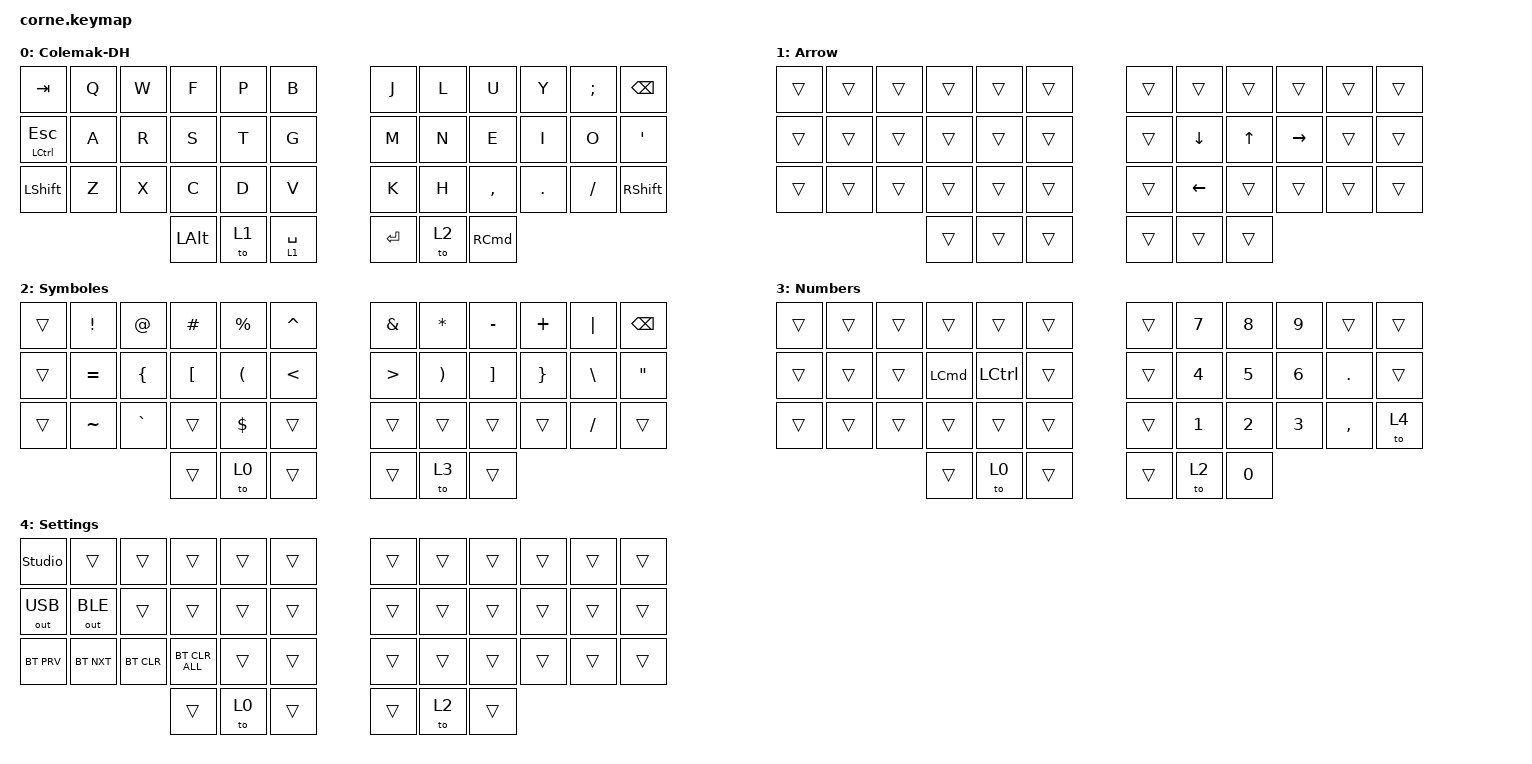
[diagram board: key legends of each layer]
/*
 * Copyright (c) 2020 The ZMK Contributors
 *
 * SPDX-License-Identifier: MIT
 */

#include <behaviors.dtsi>
#include <dt-bindings/zmk/keys.h>
#include <dt-bindings/zmk/outputs.h>
#include <dt-bindings/zmk/behaviors.h>
#include <dt-bindings/zmk/bt.h>

#define ___ &trans
#define CTRL_ESC &ht_tp LEFT_CONTROL ESC
#define SPACE_1 &mod_tp 1 SPACE

/ {


    behaviors {
        ht_tp: hold_tap_tap_preferred {
            compatible = "zmk,behavior-hold-tap";
            #binding-cells = <2>;
            tapping-term-ms = <500>; // Default ZMK value
            flavor = "tap-preferred";
            bindings = <&kp>, <&kp>;
            display-name = "CTRL-ESC";
        };

        mod_tp: mod_tap_tap_preferred {
            compatible = "zmk,behavior-hold-tap";
            #binding-cells = <2>;
            tapping-term-ms = <500>;
            flavor = "tap-preferred";
            bindings = <&mo>, <&kp>;
            display-name = "Space-NAV";
        };
    };
        keymap {
                compatible = "zmk,keymap";

                default_layer {
                        display-name = "Colemak-DH";
                        bindings = <
     // ╭─────────────┬─────────────┬─────────────┬─────────────┬─────────────┬─────────────╮   ╭─────────────┬─────────────┬─────────────┬─────────────┬─────────────┼─────────────╮
        &kp TAB       &kp Q         &kp W         &kp F         &kp P         &kp B             &kp J         &kp L         &kp U         &kp Y         &kp SEMI      &kp BSPC
     // ├─────────────┼─────────────┼─────────────┼─────────────┼─────────────┼─────────────┤   ├─────────────┼─────────────┼─────────────┼─────────────┼─────────────┼─────────────┤
        CTRL_ESC      &kp A         &kp R         &kp S         &kp T         &kp G             &kp M         &kp N         &kp E         &kp I         &kp O         &kp SQT
     // ├─────────────┼─────────────┼─────────────┼─────────────┼─────────────┼─────────────┤   ├─────────────┼─────────────┼─────────────┼─────────────┼─────────────┼─────────────┤
        &kp LSHIFT    &kp Z         &kp X         &kp C         &kp D         &kp V             &kp K         &kp H         &kp COMMA     &kp DOT       &kp FSLH      &kp RSHIFT
     // ╰─────────────┼─────────────┼─────────────┼─────────────┼─────────────┼─────────────┤   ├─────────────┼─────────────┼─────────────┼─────────────┼─────────────┼─────────────┤
                                                  &kp LEFT_ALT  &to 1         SPACE_1           &kp RET       &to 2         &kp RIGHT_COMMAND
     //                                           ╰─────────────┴─────────────┴─────────────╯   ╰─────────────┴─────────────┴─────────────╯
                        >;
                };
                nav_layer {
                        display-name = "Arrow";
                        bindings = <
     // ╭─────────────┬─────────────┬─────────────┬─────────────┬─────────────┬─────────────╮   ╭─────────────┬─────────────┬─────────────┬─────────────┬─────────────┼─────────────╮
        ___           ___           ___           ___           ___           ___               ___           ___           ___           ___           ___           ___   
     // ├─────────────┼─────────────┼─────────────┼─────────────┼─────────────┼─────────────┤   ├─────────────┼─────────────┼─────────────┼─────────────┼─────────────┼─────────────┤
        ___           ___           ___           ___           ___           ___               ___           &kp DOWN      &kp UP        &kp RIGHT     ___           ___   
     // ├─────────────┼─────────────┼─────────────┼─────────────┼─────────────┼─────────────┤   ├─────────────┼─────────────┼─────────────┼─────────────┼─────────────┼─────────────┤
        ___           ___           ___           ___           ___           ___               ___           &kp LEFT      ___           ___           ___           ___   
     // ╰─────────────┼─────────────┼─────────────┼─────────────┼─────────────┼─────────────┤   ├─────────────┼─────────────┼─────────────┼─────────────┼─────────────┼─────────────┤
                                                  ___           ___           ___               ___           ___           ___           
     //   
                        >;
                };
                
                symbol_layer {
                        display-name = "Symboles";
                        bindings = <
     // ╭─────────────┬─────────────┬──────────────┬─────────────────┬────────────────────┬─────────────╮   ╭────────────────┬─────────────────────┬─────────────────┬───────────────┬─────────────┼─────────────╮
        ___           &kp EXCL      &kp AT         &kp HASH          &kp PERCENT          &kp CARET         &kp AMPERSAND    &kp STAR              &kp MINUS         &kp PLUS        &kp PIPE      &kp BSPC
     // ├─────────────┼─────────────┼──────────────┼─────────────────┼────────────────────┼─────────────┤   ├────────────────┼─────────────────────┼─────────────────┼───────────────┼─────────────┼─────────────┤
        ___           &kp EQUAL     &kp LEFT_BRACE &kp LEFT_BRACKET  &kp LEFT_PARENTHESIS &kp LESS_THAN     &kp GREATER_THAN &kp RIGHT_PARENTHESIS &kp RIGHT_BRACKET &kp RIGHT_BRACE &kp BACKSLASH &kp DOUBLE_QUOTES
     // ├─────────────┼─────────────┼──────────────┼─────────────────┼────────────────────┼─────────────┤   ├────────────────┼─────────────────────┼─────────────────┼───────────────┼─────────────┼─────────────┤
        ___           &kp TILDE     &kp GRAVE      ___               &kp DOLLAR           ___               ___              ___                   ___               ___             &kp SLASH     ___ 
     // ╰─────────────┼─────────────┼──────────────┼─────────────────┼────────────────────┼─────────────┤   ├────────────────┼─────────────────────┼─────────────────┼───────────────┼─────────────┼─────────────┤
                                                   ___               &to 0                ___               ___              &to 3                 ___
     //                                            ╰─────────────────┴────────────────────┴─────────────╯   ╰────────────────┴─────────────────────┴─────────────────╯
                        >;
                };


                number_layer {
                        display-name = "Numbers";
                        bindings = <
     // ╭─────────────┬─────────────┬─────────────┬────────────────┬─────────────┬─────────────╮   ╭─────────────┬─────────────┬─────────────┬─────────────┬─────────────┼─────────────╮
        ___           ___           ___           ___              ___           ___               ___           &kp NUMBER_7  &kp NUMBER_8  &kp NUMBER_9  ___           ___   
     // ├─────────────┼─────────────┼─────────────┼────────────────┼─────────────┼─────────────┤   ├─────────────┼─────────────┼─────────────┼─────────────┼─────────────┼─────────────┤
        ___           ___           ___           &kp LEFT_COMMAND &kp LCTRL     ___               ___           &kp NUMBER_4  &kp NUMBER_5  &kp NUMBER_6  &kp DOT       ___   
     // ├─────────────┼─────────────┼─────────────┼────────────────┼─────────────┼─────────────┤   ├─────────────┼─────────────┼─────────────┼─────────────┼─────────────┼─────────────┤
        ___           ___           ___           ___              ___           ___               ___           &kp NUMBER_1  &kp NUMBER_2  &kp NUMBER_3  &kp COMMA     &to 4   
     // ╰─────────────┼─────────────┼─────────────┼────────────────┼─────────────┼─────────────┤   ├─────────────┼─────────────┼─────────────┼─────────────┼─────────────┼─────────────┤
                                                  ___              &to 0         ___               ___           &to 2         &kp N0          
     //                                           ╰────────────────┴─────────────┴─────────────╯   ╰─────────────┴─────────────┴─────────────╯

                        >;
                };

                settings_layer {
                        display-name = "Settings";
                        bindings = <
     // ╭─────────────┬─────────────┬─────────────┬─────────────┬─────────────┬─────────────╮   ╭─────────────┬─────────────┬─────────────┬─────────────┬─────────────┼─────────────╮
        &studio_unlock ___          ___           ___           ___           ___               ___           ___           ___           ___           ___           ___
     // ├─────────────┼─────────────┼─────────────┼─────────────┼─────────────┼─────────────┤   ├─────────────┼─────────────┼─────────────┼─────────────┼─────────────┼─────────────┤
        &out OUT_USB  &out OUT_BLE  ___           ___           ___           ___               ___           ___           ___           ___           ___           ___
     // ├─────────────┼─────────────┼─────────────┼─────────────┼─────────────┼─────────────┤   ├─────────────┼─────────────┼─────────────┼─────────────┼─────────────┼─────────────┤
        &bt BT_PRV    &bt BT_NXT    &bt BT_CLR    &bt BT_CLR_ALL ___          ___               ___           ___           ___           ___           ___           ___
     // ╰─────────────┼─────────────┼─────────────┼─────────────┼─────────────┼─────────────┤   ├─────────────┼─────────────┼─────────────┼─────────────┼─────────────┼─────────────┤
                                                  ___           &to 0         ___               ___           &to 2         ___         
     //                                           ╰─────────────┴─────────────┴─────────────╯   ╰─────────────┴─────────────┴─────────────╯
                        >;
                };
        };
};
